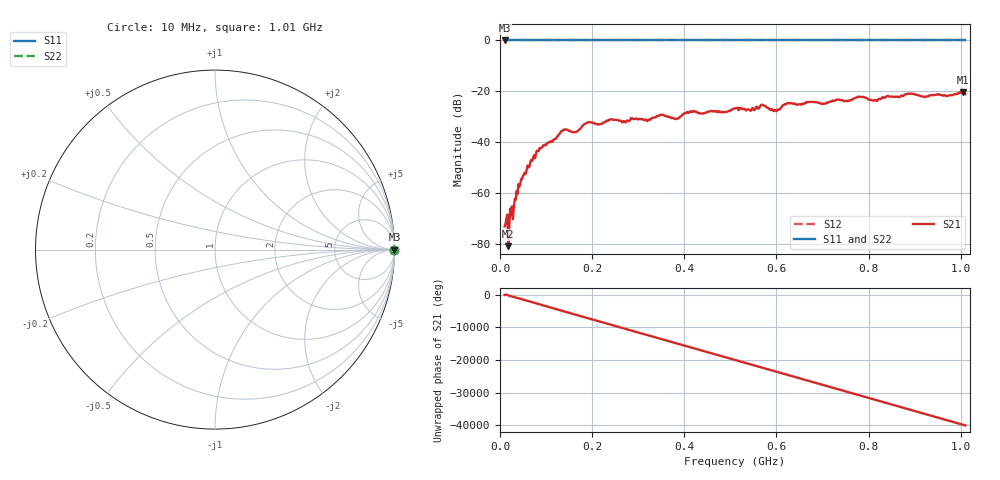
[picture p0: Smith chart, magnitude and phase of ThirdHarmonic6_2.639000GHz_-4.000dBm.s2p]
! 8/17/2025 5:56:54 AM
! C:\ANRITSUVNA\TEMP\TEMP.S2P
! CHANNEL.1
! TR.MEASUREMENT
! RAW.DATA
! RF.CORRECTION.OFF
! AVERAGING.OFF
! IF.BANDWIDTH: 5KHZ
! SWEEPTYPE:  FREQ.SWEEP(Linear)
! Reference Plane Port Info
! PORT:  PORT1  PORT2
! DISTANCE:  0  m  0  m
! TIME:  0  s  0  s
! PHASE.OFFSET:  0  deg.  0  deg.
! LOSS:  0  dB  0  dB
! REF.LOSS:  0  dB  0  dB
! REF.FREQ:  0  Hz  0  Hz
! Power Info
! POWER:  -20  dBm  -20  dBm
! EFF.POWER:  -20  dBm  -20  dBm
! SOURCE.ATTEN:  0  dB  0  dB
! TEST.ATTEN:  0  dB  0  dB
# GHZ S RI R 50.0
! FREQ.GHZ  S11RE  S11IM  S21RE  S21IM  S12RE  S12IM  S22RE  S22IM
!; PortSelection: Port_12
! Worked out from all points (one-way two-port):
!   501 points, 10 MHz to 1.01 GHz, reference 50 ohm
!   highest |S21| = -20.40 dB at 1.004 GHz (marker M1); lowest = -81.0 dB at 18 MHz (marker M2)
!   lowest |S11| = 0.0 dB at 10 MHz (marker M3)
!   |S11| at or under -10 dB: nowhere
!   |S22| runs from 0.0 to 0.0 dB; largest |S21 - S12| = 1.1
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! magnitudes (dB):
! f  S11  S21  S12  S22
! 10 MHz  0.0  -73.2  0.0  0.0
! 18 MHz  0.0  -81.0  0.0  0.0
! 22 MHz  0.0  -66.2  0.0  0.0
! 44 MHz  0.0  -56.4  0.0  0.0
! 82 MHz  0.0  -43.5  0.0  0.0
! 136 MHz  0.0  -35.6  0.0  0.0
! 162 MHz  0.0  -36.2  0.0  0.0
! 178 MHz  0.0  -33.8  0.0  0.0
! 192 MHz  0.0  -32.2  0.0  0.0
! 322 MHz  0.0  -31.4  0.0  0.0
! 344 MHz  0.0  -29.8  0.0  0.0
! 384 MHz  0.0  -30.8  0.0  0.0
! 416 MHz  0.0  -28.1  0.0  0.0
! 510 MHz  0.0  -26.7  0.0  0.0
! 542 MHz  0.0  -27.4  0.0  0.0
! 570 MHz  0.0  -25.4  0.0  0.0
! 596 MHz  0.0  -27.4  0.0  0.0
! 624 MHz  0.0  -24.7  0.0  0.0
! 678 MHz  0.0  -24.3  0.0  0.0
! 844 MHz  0.0  -22.0  0.0  0.0
! 1.004 GHz  0.0  -20.4  0.0  0.0
! 1.01 GHz  0.0  -21.1  0.0  0.0
